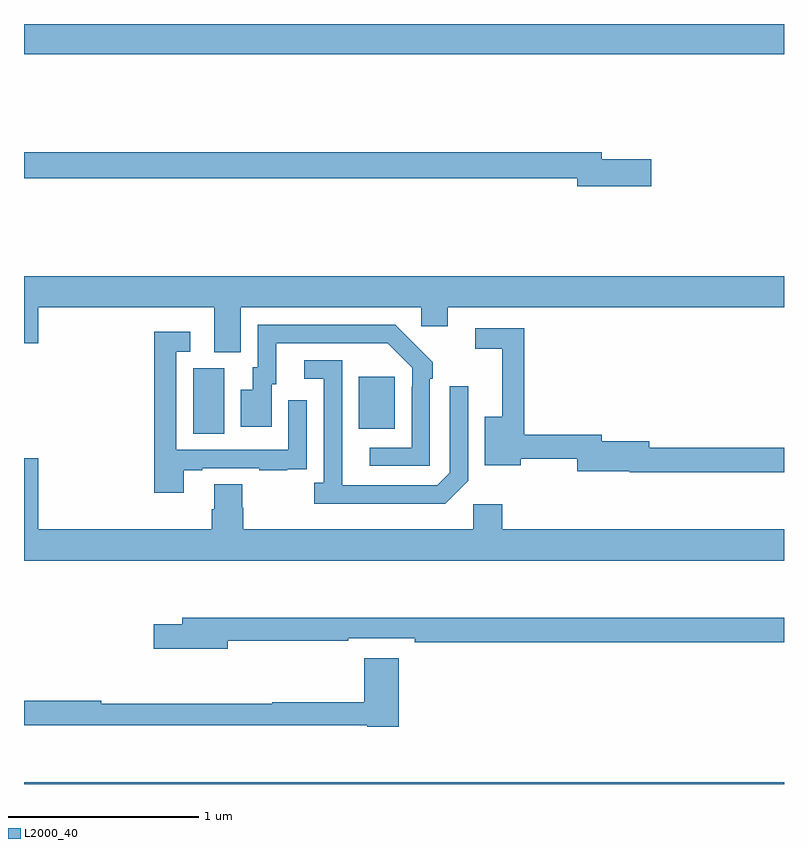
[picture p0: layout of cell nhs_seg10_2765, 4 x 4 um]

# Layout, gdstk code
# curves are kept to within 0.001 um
import gdstk
lib = gdstk.Library(unit=1e-6, precision=1e-09)
def R(c, l, rs):  # rectangles x0, y0, x1, y1
    for r in rs: c.add(gdstk.rectangle(r[:2], r[2:], *l))
def P(c, l, *ps):  # polygons
    for p in ps: c.add(gdstk.Polygon(p, *l))
L2000_40 = (2000, 40)

nhs_seg10_2765 = lib.new_cell('nhs_seg10_2765')
R(nhs_seg10_2765, L2000_40, [(261,1272.5,265,1272.508), (261.89,1274.344,262.054,1274.688), (262.763,1274.369,262.951,1274.644), (261,1276.34,265,1276.5)])
P(nhs_seg10_2765, L2000_40, [(264.301,1275.788),(264.04,1275.788),(264.04,1275.824),(261,1275.824),(261,1275.688),(263.912,1275.688),(263.912,1275.646),(264.301,1275.646)],
  [(262.141,1275.008),(263.091,1275.008),(263.091,1274.91),(263.23,1274.91),(263.23,1275.008),(265,1275.008),(265,1275.172),(261,1275.172),(261,1274.82),(261.076,1274.82),(261.076,1275.008),(262.001,1275.008),(262.001,1274.773),(262.141,1274.773)],
  [(263.136,1274.633),(263.151,1274.633),(263.151,1274.721),(262.954,1274.916),(262.23,1274.916),(262.23,1274.694),(262.205,1274.694),(262.205,1274.575),(262.142,1274.575),(262.142,1274.379),(262.303,1274.379),(262.303,1274.604),(262.327,1274.604),(262.327,1274.82),(262.915,1274.82),(263.043,1274.691),(263.043,1274.591),(263.04,1274.591),(263.04,1274.271),(262.821,1274.271),(262.821,1274.175),(263.136,1274.175)],
  [(265,1274.27),(264.292,1274.27),(264.292,1274.303),(264.04,1274.303),(264.04,1274.339),(263.633,1274.339),(263.633,1274.898),(263.376,1274.898),(263.376,1274.79),(263.516,1274.79),(263.516,1274.434),(263.426,1274.434),(263.426,1274.177),(263.614,1274.177),(263.614,1274.211),(263.912,1274.211),(263.912,1274.146),(264.188,1274.146),(264.188,1274.142),(265,1274.142)],
  [(261.841,1274.151),(261.937,1274.151),(261.937,1274.163),(262.237,1274.163),(262.237,1274.151),(262.385,1274.151),(262.385,1274.157),(262.487,1274.157),(262.487,1274.266),(262.488,1274.266),(262.488,1274.521),(262.392,1274.521),(262.392,1274.259),(261.801,1274.259),(261.801,1274.775),(261.874,1274.775),(261.874,1274.881),(261.685,1274.881),(261.685,1274.034),(261.841,1274.034)],
  [(263.337,1274.097),(263.337,1274.593),(263.241,1274.593),(263.241,1274.139),(263.175,1274.073),(262.675,1274.073),(262.674,1274.73),(262.476,1274.73),(262.476,1274.634),(262.578,1274.634),(262.578,1274.086),(262.527,1274.086),(262.527,1273.976),(263.216,1273.976)],
  [(265,1273.84),(263.516,1273.84),(263.516,1273.972),(263.364,1273.972),(263.364,1273.84),(262.154,1273.84),(262.154,1273.953),(262.149,1273.953),(262.149,1274.078),(262.001,1274.078),(262.001,1273.946),(261.989,1273.946),(261.989,1273.84),(261.076,1273.84),(261.076,1274.215),(261,1274.215),(261,1273.676),(265,1273.676)],
  [(262.072,1273.254),(262.706,1273.254),(262.706,1273.266),(263.056,1273.266),(263.056,1273.246),(265,1273.246),(265,1273.375),(261.833,1273.375),(261.833,1273.341),(261.684,1273.341),(261.684,1273.211),(262.072,1273.211)],
  [(262.973,1273.162),(262.79,1273.162),(262.79,1272.931),(262.306,1272.931),(262.306,1272.923),(261.406,1272.923),(261.406,1272.938),(261,1272.938),(261,1272.81),(262.806,1272.81),(262.806,1272.802),(262.973,1272.802)])

lib.write_gds('nhs_seg10_2765.gds')
